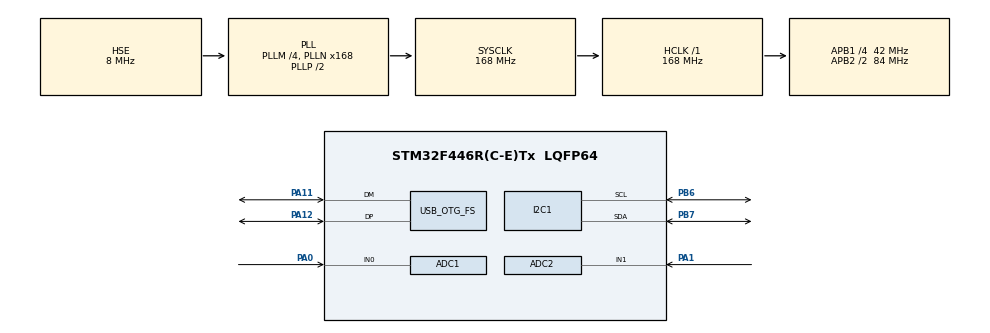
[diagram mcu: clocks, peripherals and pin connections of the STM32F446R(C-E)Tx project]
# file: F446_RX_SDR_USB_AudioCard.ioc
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ADC1.Channel-0\#ChannelRegularConversion=ADC_CHANNEL_0
ADC1.DMAAccessMode=ADC_DMAACCESSMODE_2
ADC1.ExternalTrigConv=ADC_EXTERNALTRIGCONV_T3_TRGO
ADC1.Mode=ADC_DUALMODE_REGSIMULT
ADC1.NbrOfConversionFlag=1
ADC1.Rank-0\#ChannelRegularConversion=1
ADC1.SamplingTime-0\#ChannelRegularConversion=ADC_SAMPLETIME_3CYCLES
ADC1.master=1
ADC2.Channel-0\#ChannelRegularConversion=ADC_CHANNEL_1
ADC2.DMAAccessMode=ADC_DMAACCESSMODE_2
ADC2.Mode=ADC_DUALMODE_REGSIMULT
ADC2.NbrOfConversionFlag=1
ADC2.Rank-0\#ChannelRegularConversion=1
ADC2.SamplingTime-0\#ChannelRegularConversion=ADC_SAMPLETIME_3CYCLES
Dma.ADC1.0.Direction=DMA_PERIPH_TO_MEMORY
Dma.ADC1.0.FIFOMode=DMA_FIFOMODE_DISABLE
Dma.ADC1.0.Instance=DMA2_Stream0
Dma.ADC1.0.MemDataAlignment=DMA_MDATAALIGN_WORD
Dma.ADC1.0.MemInc=DMA_MINC_ENABLE
Dma.ADC1.0.Mode=DMA_CIRCULAR
Dma.ADC1.0.PeriphDataAlignment=DMA_PDATAALIGN_WORD
Dma.ADC1.0.PeriphInc=DMA_PINC_DISABLE
Dma.ADC1.0.Priority=DMA_PRIORITY_LOW
Dma.Request0=ADC1
Mcu.Family=STM32F4
Mcu.Name=STM32F446R(C-E)Tx
Mcu.Package=LQFP64
NVIC.DMA2_Stream0_IRQn=true\:0\:0\:false\:false\:true\:false\:true\:true
NVIC.OTG_FS_IRQn=true\:0\:0\:false\:false\:true\:true\:true\:true
NVIC.PriorityGroup=NVIC_PRIORITYGROUP_4
PA0-WKUP.Signal=ADCx_IN0
PA1.Signal=ADCx_IN1
PA11.Mode=Device_Only
PA11.Signal=USB_OTG_FS_DM
PA12.Mode=Device_Only
PA12.Signal=USB_OTG_FS_DP
PA13.Mode=Serial_Wire
PA13.Signal=SYS_JTMS-SWDIO
PA14.Mode=Serial_Wire
PA14.Signal=SYS_JTCK-SWCLK
PB6.Mode=I2C
PB6.Signal=I2C1_SCL
PB7.Mode=I2C
PB7.Signal=I2C1_SDA
PC14-OSC32_IN.Mode=LSE-External-Oscillator
PC14-OSC32_IN.Signal=RCC_OSC32_IN
PC15-OSC32_OUT.Mode=LSE-External-Oscillator
PC15-OSC32_OUT.Signal=RCC_OSC32_OUT
PH0-OSC_IN.Mode=HSE-External-Oscillator
PH0-OSC_IN.Signal=RCC_OSC_IN
PH1-OSC_OUT.Mode=HSE-External-Oscillator
PH1-OSC_OUT.Signal=RCC_OSC_OUT
ProjectManager.HeapSize=0x600
ProjectManager.StackSize=0x1000
ProjectManager.TargetToolchain=STM32CubeIDE
RCC.AHBFreq_Value=168000000
RCC.APB1CLKDivider=RCC_HCLK_DIV4
RCC.APB1Freq_Value=42000000
RCC.APB1TimFreq_Value=84000000
RCC.APB2CLKDivider=RCC_HCLK_DIV2
RCC.APB2Freq_Value=84000000
RCC.APB2TimFreq_Value=168000000
RCC.CortexFreq_Value=168000000
RCC.HCLKFreq_Value=168000000
RCC.HSE_VALUE=8000000
RCC.PLLM=4
RCC.PLLN=168
RCC.PLLQ=7
RCC.SYSCLKFreq_VALUE=168000000
RCC.SYSCLKSource=RCC_SYSCLKSOURCE_PLLCLK
RCC.USBFreq_Value=48000000
RCC.VCOOutputFreq_Value=336000000
SH.ADCx_IN0.0=ADC1_IN0,IN0
SH.ADCx_IN1.0=ADC2_IN1,IN1
TIM3.Period=1750-1
TIM3.Prescaler=0
TIM3.TIM_MasterOutputTrigger=TIM_TRGO_UPDATE
TIM3.TIM_MasterSlaveMode=TIM_MASTERSLAVEMODE_ENABLE
USB_OTG_FS.VirtualMode=Device_Only
VP_TIM3_VS_ClockSourceINT.Mode=Internal
board=custom

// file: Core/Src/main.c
/* USER CODE BEGIN Header */
/**
  ******************************************************************************
  * @file           : main.c
  * @brief          : Main program body
  ******************************************************************************
  * @attention
  *
  * Copyright (c) 2026 STMicroelectronics.
  * All rights reserved.
  *
  * This software is licensed under terms that can be found in the LICENSE file
  * in the root directory of this software component.
  * If no LICENSE file comes with this software, it is provided AS-IS.
  *
  ******************************************************************************
  */
/* USER CODE END Header */
#include "main.h"

/* USER CODE BEGIN Includes */
#include "si5351.h"
#include "math.h"
#include "tusb.h"
#include "common.h"
#include "usb_descriptors.h"
/* USER CODE END Includes */

/* USER CODE BEGIN PD */
#define FREQ_40M 7074000
#define ADC_DMA_BUF_SIZE 96
#define AUDIO_FIFO_SIZE 4096
/* USER CODE END PD */

ADC_HandleTypeDef hadc1;
ADC_HandleTypeDef hadc2;
DMA_HandleTypeDef hdma_adc1;

I2C_HandleTypeDef hi2c1;

TIM_HandleTypeDef htim3;

PCD_HandleTypeDef hpcd_USB_OTG_FS;

/* USER CODE BEGIN PV */
uint32_t current_freq = FREQ_40M;
uint32_t adc_dma_buf[ADC_DMA_BUF_SIZE];
volatile int16_t audio_fifo[AUDIO_FIFO_SIZE];
volatile uint16_t audio_fifo_head = 0;
volatile uint16_t audio_fifo_tail = 0;
volatile uint16_t audio_fifo_count = 0;

float dc_offset_i = 2048.0f; // Approx VCC/2 starting point
const float dc_alpha = 0.0001f; // EMA coefficient for DC tracking
/* USER CODE END PV */

void SystemClock_Config(void);
static void MX_GPIO_Init(void);
static void MX_DMA_Init(void);
static void MX_I2C1_Init(void);
static void MX_USB_OTG_FS_PCD_Init(void);
static void MX_ADC1_Init(void);
static void MX_ADC2_Init(void);
static void MX_TIM3_Init(void);

/* USER CODE BEGIN 0 */
void push_audio_fifo(int16_t sample) {
    uint16_t next = (audio_fifo_head + 1) % AUDIO_FIFO_SIZE;
    if (next != audio_fifo_tail) {
        audio_fifo[audio_fifo_head] = sample;
        audio_fifo_head = next;
        audio_fifo_count++;
    }
}

uint16_t get_audio_fifo_count(void) {
    if (audio_fifo_head >= audio_fifo_tail) {
        return audio_fifo_head - audio_fifo_tail;
    } else {
        return AUDIO_FIFO_SIZE - audio_fifo_tail + audio_fifo_head;
    }
}

int16_t pop_audio_fifo(void) {
    if (audio_fifo_head == audio_fifo_tail) return 0;
    int16_t val = audio_fifo[audio_fifo_tail];
    audio_fifo_tail = (audio_fifo_tail + 1) % AUDIO_FIFO_SIZE;
    audio_fifo_count--;
    return val;
}

/* function Setup_Tayloe_Mixer_LO
@brief: Setup the Tayloe Mixer LO
@param: freq_hz - frequency in Hz
@retval: None
*/

void Setup_Tayloe_Mixer_LO(uint32_t freq_hz)
{
	si5351PLLConfig_t pll_conf;
    si5351OutputConfig_t out_conf;

    // 1. Initialize the Si5351 module
    si5351_Init(7760);

    // 2. Calculate the PLL and Multisynth parameters for IQ (90° offset)
    si5351_CalcIQ(freq_hz, &pll_conf, &out_conf);

    // 3. Setup Outputs FIRST to write the phase offsets into the registers.
    // Both use PLL_A, but the PLL isn't configured/reset until step 4.

    // Output 0 (In-Phase / I)
    si5351_SetupOutput(0,
                       SI5351_PLL_A,
                       SI5351_DRIVE_STRENGTH_8MA,
                       &out_conf,
                       0);

    // Output 1 (Quadrature / Q)
    si5351_SetupOutput(1,
                       SI5351_PLL_A,
                       SI5351_DRIVE_STRENGTH_8MA,
                       &out_conf,
                       (uint8_t)out_conf.div);

    // 4. Setup the PLL LAST.
    // This applies the PLL settings and triggers the vital PLL reset
    // across both channels simultaneously, locking in the 90° shift.
    si5351_SetupPLL(SI5351_PLL_A, &pll_conf);

    // 5. Enable CLK0 and CLK1 outputs simultaneously.
    si5351_EnableOutputs((1 << 0) | (1 << 1));
}
/* USER CODE END 0 */

int main(void)
{

  /* MCU Configuration--------------------------------------------------------*/

  /* Reset of all peripherals, Initializes the Flash interface and the Systick. */
  HAL_Init();

  /* Configure the system clock */
  SystemClock_Config();

  /* Initialize all configured peripherals */
  MX_GPIO_Init();
  MX_DMA_Init();
  MX_I2C1_Init();
  MX_USB_OTG_FS_PCD_Init();
  MX_ADC1_Init();
  MX_ADC2_Init();
  MX_TIM3_Init();
  /* USER CODE BEGIN 2 */
  TU_ASSERT(tusb_init());
  Setup_Tayloe_Mixer_LO(current_freq);

  // TODO: Future version - enable Stereo (I+Q) USB Audio for full SDR support.
  // When switching to I+Q mode, push both the I and Q samples to the FIFO and
  // change the USB Descriptor back to 2 channels.

  // Start Slave ADC first to prevent Dual Mode Master from hanging during REGSIMULT sync!
  HAL_ADC_Start(&hadc2);
  // Start ADC Dual Mode DMA (interleaved 32-bit: ADC2 in high word, ADC1 in low word)
  HAL_ADCEx_MultiModeStart_DMA(&hadc1, (uint32_t *)adc_dma_buf, ADC_DMA_BUF_SIZE);
  // Start the timer to trigger ADC
  HAL_TIM_Base_Start(&htim3);
  /* USER CODE END 2 */

  /* Infinite loop */
  while (1)
  {

    /* USER CODE BEGIN 3 */
	  tud_task();
	  audio_task();
  }
  /* USER CODE END 3 */
}

void SystemClock_Config(void)
{
  RCC_OscInitTypeDef RCC_OscInitStruct = {0};
  RCC_ClkInitTypeDef RCC_ClkInitStruct = {0};

  /** Configure the main internal regulator output voltage
  */
  __HAL_RCC_PWR_CLK_ENABLE();
  __HAL_PWR_VOLTAGESCALING_CONFIG(PWR_REGULATOR_VOLTAGE_SCALE1);

  /** Initializes the RCC Oscillators according to the specified parameters
  * in the RCC_OscInitTypeDef structure.
  */
  RCC_OscInitStruct.OscillatorType = RCC_OSCILLATORTYPE_HSE;
  RCC_OscInitStruct.HSEState = RCC_HSE_ON;
  RCC_OscInitStruct.PLL.PLLState = RCC_PLL_ON;
  RCC_OscInitStruct.PLL.PLLSource = RCC_PLLSOURCE_HSE;
  RCC_OscInitStruct.PLL.PLLM = 4;
  RCC_OscInitStruct.PLL.PLLN = 168;
  RCC_OscInitStruct.PLL.PLLP = RCC_PLLP_DIV2;
  RCC_OscInitStruct.PLL.PLLQ = 7;
  RCC_OscInitStruct.PLL.PLLR = 2;
  if (HAL_RCC_OscConfig(&RCC_OscInitStruct) != HAL_OK)
  {
    Error_Handler();
  }

  /** Initializes the CPU, AHB and APB buses clocks
  */
  RCC_ClkInitStruct.ClockType = RCC_CLOCKTYPE_HCLK|RCC_CLOCKTYPE_SYSCLK
                              |RCC_CLOCKTYPE_PCLK1|RCC_CLOCKTYPE_PCLK2;
  RCC_ClkInitStruct.SYSCLKSource = RCC_SYSCLKSOURCE_PLLCLK;
  RCC_ClkInitStruct.AHBCLKDivider = RCC_SYSCLK_DIV1;
  RCC_ClkInitStruct.APB1CLKDivider = RCC_HCLK_DIV4;
  RCC_ClkInitStruct.APB2CLKDivider = RCC_HCLK_DIV2;

  if (HAL_RCC_ClockConfig(&RCC_ClkInitStruct, FLASH_LATENCY_5) != HAL_OK)
  {
    Error_Handler();
  }
}

static void MX_ADC1_Init(void)
{

  ADC_MultiModeTypeDef multimode = {0};
  ADC_ChannelConfTypeDef sConfig = {0};

  /** Configure the global features of the ADC (Clock, Resolution, Data Alignment and number of conversion)
  */
  hadc1.Instance = ADC1;
  hadc1.Init.ClockPrescaler = ADC_CLOCK_SYNC_PCLK_DIV4;
  hadc1.Init.Resolution = ADC_RESOLUTION_12B;
  hadc1.Init.ScanConvMode = DISABLE;
  hadc1.Init.ContinuousConvMode = DISABLE;
  hadc1.Init.DiscontinuousConvMode = DISABLE;
  hadc1.Init.ExternalTrigConvEdge = ADC_EXTERNALTRIGCONVEDGE_RISING;
  hadc1.Init.ExternalTrigConv = ADC_EXTERNALTRIGCONV_T3_TRGO;
  hadc1.Init.DataAlign = ADC_DATAALIGN_RIGHT;
  hadc1.Init.NbrOfConversion = 1;
  hadc1.Init.DMAContinuousRequests = ENABLE;
  hadc1.Init.EOCSelection = ADC_EOC_SINGLE_CONV;
  if (HAL_ADC_Init(&hadc1) != HAL_OK)
  {
    Error_Handler();
  }

  /** Configure the ADC multi-mode
  */
  multimode.Mode = ADC_DUALMODE_REGSIMULT;
  multimode.DMAAccessMode = ADC_DMAACCESSMODE_2;
  multimode.TwoSamplingDelay = ADC_TWOSAMPLINGDELAY_5CYCLES;
  if (HAL_ADCEx_MultiModeConfigChannel(&hadc1, &multimode) != HAL_OK)
  {
    Error_Handler();
  }

  /** Configure for the selected ADC regular channel its corresponding rank in the sequencer and its sample time.
  */
  sConfig.Channel = ADC_CHANNEL_0;
  sConfig.Rank = 1;
  sConfig.SamplingTime = ADC_SAMPLETIME_3CYCLES;
  if (HAL_ADC_ConfigChannel(&hadc1, &sConfig) != HAL_OK)
  {
    Error_Handler();
  }

}

static void MX_ADC2_Init(void)
{

  ADC_ChannelConfTypeDef sConfig = {0};

  /** Configure the global features of the ADC (Clock, Resolution, Data Alignment and number of conversion)
  */
  hadc2.Instance = ADC2;
  hadc2.Init.ClockPrescaler = ADC_CLOCK_SYNC_PCLK_DIV4;
  hadc2.Init.Resolution = ADC_RESOLUTION_12B;
  hadc2.Init.ScanConvMode = DISABLE;
  hadc2.Init.ContinuousConvMode = DISABLE;
  hadc2.Init.DiscontinuousConvMode = DISABLE;
  hadc2.Init.DataAlign = ADC_DATAALIGN_RIGHT;
  hadc2.Init.NbrOfConversion = 1;
  hadc2.Init.DMAContinuousRequests = DISABLE;
  hadc2.Init.EOCSelection = ADC_EOC_SINGLE_CONV;
  if (HAL_ADC_Init(&hadc2) != HAL_OK)
  {
    Error_Handler();
  }

  /** Configure for the selected ADC regular channel its corresponding rank in the sequencer and its sample time.
  */
  sConfig.Channel = ADC_CHANNEL_1;
  sConfig.Rank = 1;
  sConfig.SamplingTime = ADC_SAMPLETIME_3CYCLES;
  if (HAL_ADC_ConfigChannel(&hadc2, &sConfig) != HAL_OK)
  {
    Error_Handler();
  }

}

static void MX_I2C1_Init(void)
{

  hi2c1.Instance = I2C1;
  hi2c1.Init.ClockSpeed = 100000;
  hi2c1.Init.DutyCycle = I2C_DUTYCYCLE_2;
  hi2c1.Init.OwnAddress1 = 0;
  hi2c1.Init.AddressingMode = I2C_ADDRESSINGMODE_7BIT;
  hi2c1.Init.DualAddressMode = I2C_DUALADDRESS_DISABLE;
  hi2c1.Init.OwnAddress2 = 0;
  hi2c1.Init.GeneralCallMode = I2C_GENERALCALL_DISABLE;
  hi2c1.Init.NoStretchMode = I2C_NOSTRETCH_DISABLE;
  if (HAL_I2C_Init(&hi2c1) != HAL_OK)
  {
    Error_Handler();
  }

}

static void MX_TIM3_Init(void)
{

  TIM_ClockConfigTypeDef sClockSourceConfig = {0};
  TIM_MasterConfigTypeDef sMasterConfig = {0};

  htim3.Instance = TIM3;
  htim3.Init.Prescaler = 0;
  htim3.Init.CounterMode = TIM_COUNTERMODE_UP;
  htim3.Init.Period = 1750-1;
  htim3.Init.ClockDivision = TIM_CLOCKDIVISION_DIV1;
  htim3.Init.AutoReloadPreload = TIM_AUTORELOAD_PRELOAD_DISABLE;
  if (HAL_TIM_Base_Init(&htim3) != HAL_OK)
  {
    Error_Handler();
  }
  sClockSourceConfig.ClockSource = TIM_CLOCKSOURCE_INTERNAL;
  if (HAL_TIM_ConfigClockSource(&htim3, &sClockSourceConfig) != HAL_OK)
  {
    Error_Handler();
  }
  sMasterConfig.MasterOutputTrigger = TIM_TRGO_UPDATE;
  sMasterConfig.MasterSlaveMode = TIM_MASTERSLAVEMODE_ENABLE;
  if (HAL_TIMEx_MasterConfigSynchronization(&htim3, &sMasterConfig) != HAL_OK)
  {
    Error_Handler();
  }

}

static void MX_USB_OTG_FS_PCD_Init(void)
{

  hpcd_USB_OTG_FS.Instance = USB_OTG_FS;
  hpcd_USB_OTG_FS.Init.dev_endpoints = 6;
  hpcd_USB_OTG_FS.Init.speed = PCD_SPEED_FULL;
  hpcd_USB_OTG_FS.Init.dma_enable = DISABLE;
  hpcd_USB_OTG_FS.Init.phy_itface = PCD_PHY_EMBEDDED;
  hpcd_USB_OTG_FS.Init.Sof_enable = DISABLE;
  hpcd_USB_OTG_FS.Init.low_power_enable = DISABLE;
  hpcd_USB_OTG_FS.Init.lpm_enable = DISABLE;
  hpcd_USB_OTG_FS.Init.vbus_sensing_enable = DISABLE;
  hpcd_USB_OTG_FS.Init.use_dedicated_ep1 = DISABLE;
  if (HAL_PCD_Init(&hpcd_USB_OTG_FS) != HAL_OK)
  {
    Error_Handler();
  }

}

static void MX_DMA_Init(void)
{

  /* DMA controller clock enable */
  __HAL_RCC_DMA2_CLK_ENABLE();

  /* DMA interrupt init */
  /* DMA2_Stream0_IRQn interrupt configuration */
  HAL_NVIC_SetPriority(DMA2_Stream0_IRQn, 0, 0);
  HAL_NVIC_EnableIRQ(DMA2_Stream0_IRQn);

}

static void MX_GPIO_Init(void)
{

  /* GPIO Ports Clock Enable */
  __HAL_RCC_GPIOC_CLK_ENABLE();
  __HAL_RCC_GPIOH_CLK_ENABLE();
  __HAL_RCC_GPIOA_CLK_ENABLE();
  __HAL_RCC_GPIOB_CLK_ENABLE();

}

/* USER CODE BEGIN 4 */
void process_adc_buffer(uint32_t *buf, uint16_t len) {
    for (uint16_t i = 0; i < len; i++) {
        // Dual mode: ADC1 (I channel) is in the lower 16-bits
        // ADC2 (Q channel) is in the upper 16-bits (buf[i] >> 16)
        uint16_t adc1_val = buf[i] & 0xFFFF; // Get I channel

        // Update DC Offset using Exponential Moving Average
        dc_offset_i = (dc_alpha * (float)adc1_val) + ((1.0f - dc_alpha) * dc_offset_i);

        // Remove DC offset
        float centered = (float)adc1_val - dc_offset_i;

        // Convert to 16-bit signed integer (scale max internal range)
        int16_t sample_i = (int16_t)(centered * 16.0f); // Map 12-bit signed to 16-bit range

        push_audio_fifo(sample_i);
    }
}

void HAL_ADC_ConvHalfCpltCallback(ADC_HandleTypeDef* hadc) {
    if (hadc->Instance == ADC1) {
        process_adc_buffer(&adc_dma_buf[0], ADC_DMA_BUF_SIZE / 2);
    }
}

void HAL_ADC_ConvCpltCallback(ADC_HandleTypeDef* hadc) {
    if (hadc->Instance == ADC1) {
        process_adc_buffer(&adc_dma_buf[ADC_DMA_BUF_SIZE / 2], ADC_DMA_BUF_SIZE / 2);
    }
}
/* USER CODE END 4 */

void Error_Handler(void)
{
  __disable_irq();
  while (1)
  {
  }
}
